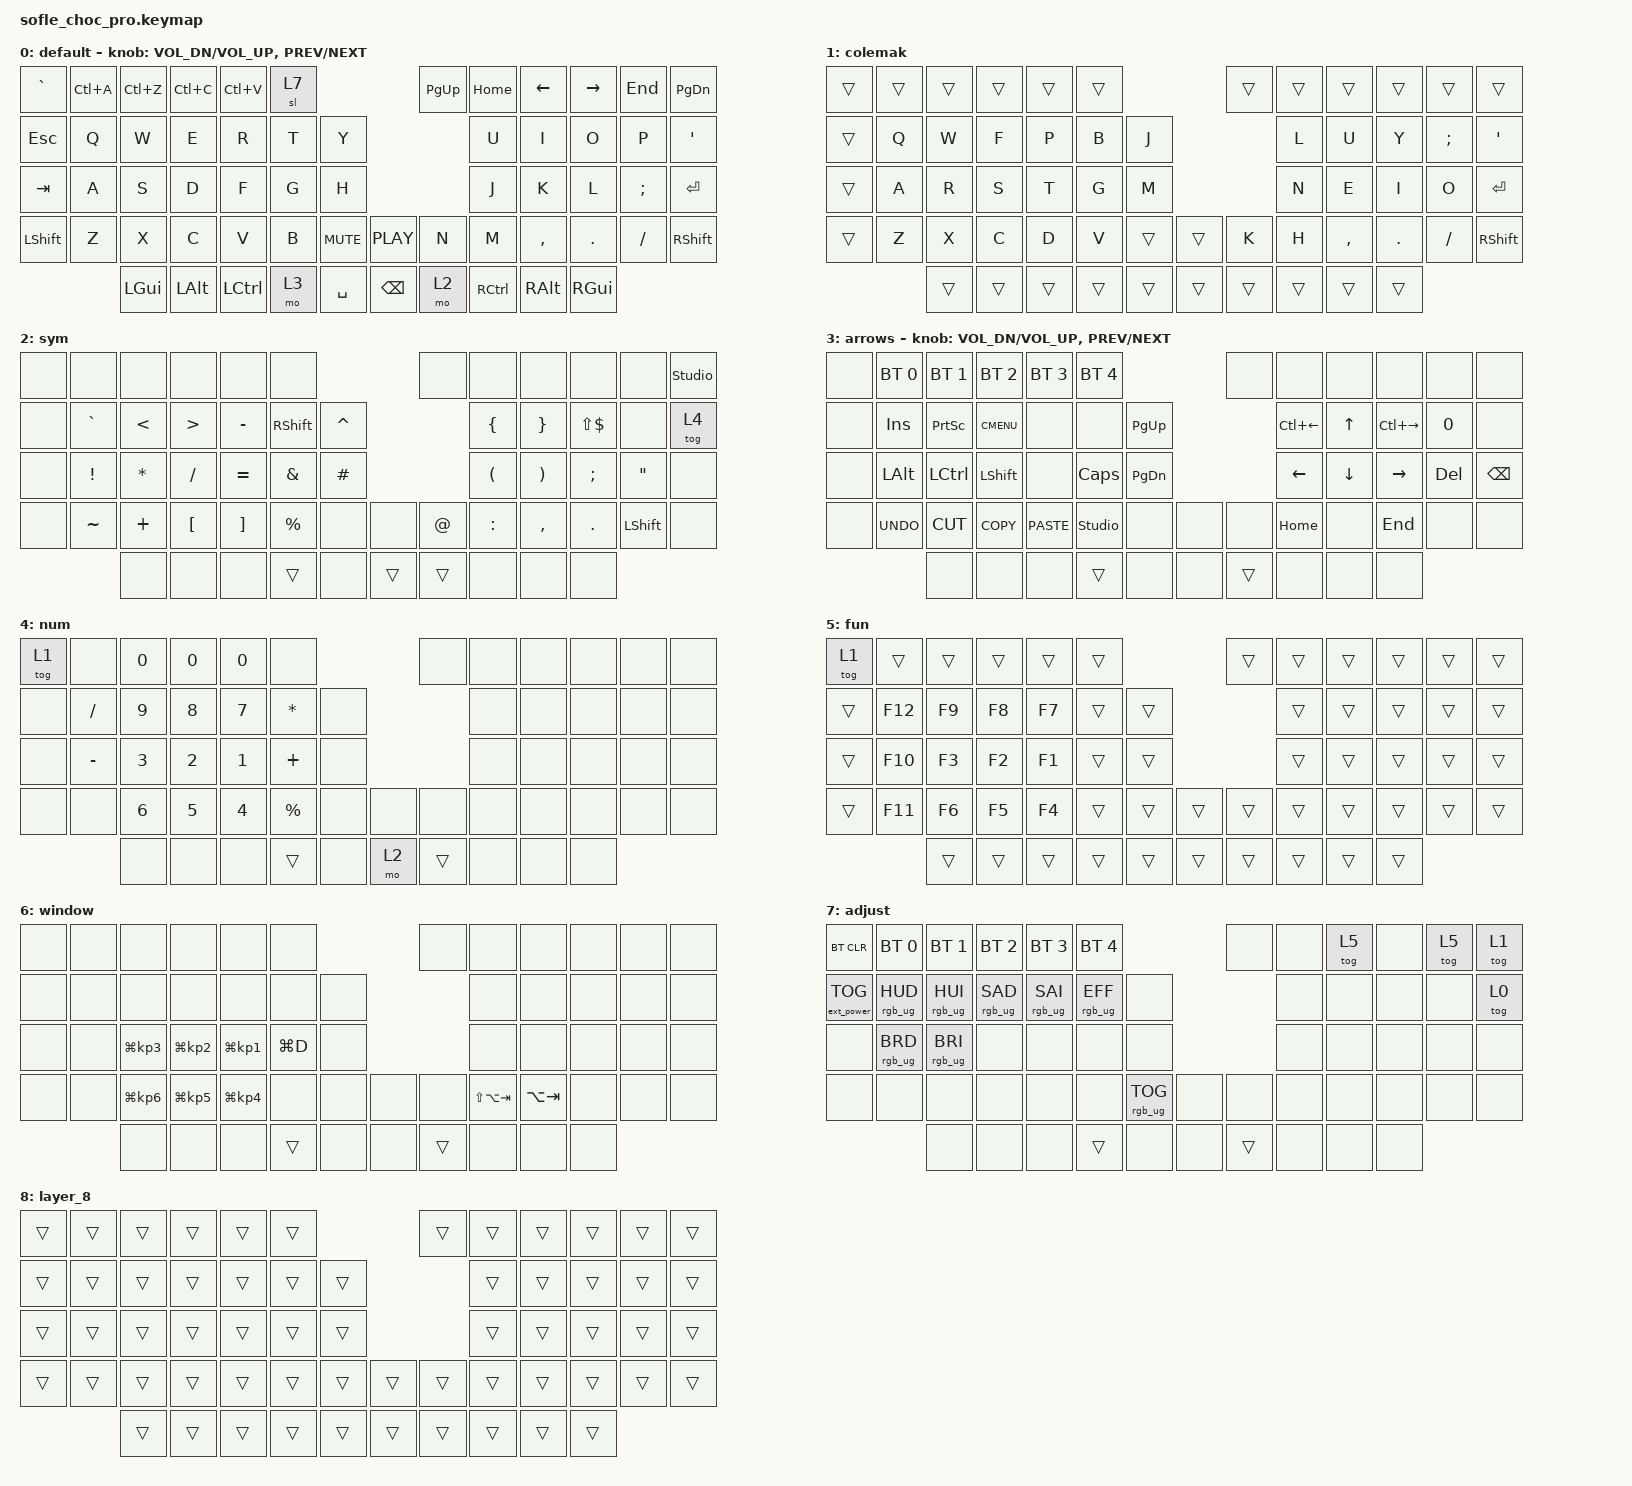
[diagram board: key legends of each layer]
/*
* Copyright (c) 2020 The ZMK Contributors
*
* SPDX-License-Identifier: MIT
*/

#include <behaviors.dtsi>
#include <dt-bindings/zmk/bt.h>
#include <dt-bindings/zmk/ext_power.h>
#include <dt-bindings/zmk/keys.h>
#include <dt-bindings/zmk/rgb.h>

#define DEFAULT 0
#define COLEMAK 1
#define SYM     2
#define ARROWS  3
#define NUM     4
#define FUN     5
#define WINDOW  6
#define ADJUST  7

/ {
    // Activate ADJUST layer by pressing raise and lower

    conditional_layers { compatible = "zmk,conditional-layers"; };

    combos {
        compatible = "zmk,combos";

        bothlayers {
            bindings = <&mo 7>;
            key-positions = <53 56>;
        };
    };

    keymap {
        compatible = "zmk,keymap";

        default_layer {
            display-name = "default";

            // ------------------------------------------------------------------------------------------------------------
            // |   `   |  1  |  2  |  3   |  4   |  5   |                   |  6   |  7    |  8    |  9   |   0   |   `   |
            // |  ESC  |  Q  |  W  |  E   |  R   |  T   |                   |  Y   |  U    |  I    |  O   |   P   | BKSPC |
            // |  TAB  |  A  |  S  |  D   |  F   |  G   |                   |  H   |  J    |  K    |  L   |   ;   |   '   |
            // | SHIFT |  Z  |  X  |  C   |  V   |  B   |  MUTE  |  | PLAY  |  N   |  M    |  ,    |  .   |   /   | SHIFT |
            //               | GUI | ALT  | CTRL | LOWER|  ENTER |  | SPACE | RAISE| CTRL  | ALT   | GUI  |

            bindings = <
&kp GRAVE  &kp LC(A)  &kp LC(Z)  &kp LC(C)  &kp LC(V)  &sl 7                          &kp PAGE_UP  &kp HOME   &kp LEFT   &kp RIGHT  &kp END   &kp PAGE_DOWN
&kp ESC    &kp Q      &kp W      &kp E      &kp R      &kp T  &kp Y                                &kp U      &kp I      &kp O      &kp P     &kp SQT
&kp TAB    &kp A      &kp S      &kp D      &kp F      &kp G  &kp H                                &kp J      &kp K      &kp L      &kp SEMI  &kp ENTER
&kp LSHFT  &kp Z      &kp X      &kp C      &kp V      &kp B  &kp C_MUTE  &kp C_PLAY  &kp N        &kp M      &kp COMMA  &kp DOT    &kp FSLH  &kp RSHFT
                      &kp LGUI   &kp LALT   &kp LCTRL  &mo 3  &kp SPACE   &kp BSPC    &mo 2        &kp RCTRL  &kp RALT   &kp RGUI
            >;

            sensor-bindings = <&inc_dec_kp C_VOL_DN C_VOL_UP &inc_dec_kp C_PREV C_NEXT>;
        };

        colemak {
            bindings = <
&trans  &trans  &trans  &trans  &trans  &trans                  &trans  &trans  &trans     &trans   &trans    &trans
&trans  &kp Q   &kp W   &kp F   &kp P   &kp B   &kp J                   &kp L   &kp U      &kp Y    &kp SEMI  &kp APOS
&trans  &kp A   &kp R   &kp S   &kp T   &kp G   &kp M                   &kp N   &kp E      &kp I    &kp O     &kp ENTER
&trans  &kp Z   &kp X   &kp C   &kp D   &kp V   &trans  &trans  &kp K   &kp H   &kp COMMA  &kp DOT  &kp FSLH  &kp RSHFT
                &trans  &trans  &trans  &trans  &trans  &trans  &trans  &trans  &trans     &trans
            >;

            label = "colemak";
        };

        sym {
            bindings = <
&none  &none            &none          &none             &none      &none                           &none   &none                 &none                  &none         &none              &studio_unlock
&none  &kp GRAVE        &kp LESS_THAN  &kp GREATER_THAN  &kp MINUS  &kp RSHFT    &kp CARET                  &kp LEFT_BRACE        &kp RIGHT_BRACE        &kp LS(DLLR)  &none              &tog 4
&none  &kp EXCLAMATION  &kp STAR       &kp FSLH          &kp EQUAL  &kp AMPS     &kp HASH                   &kp LEFT_PARENTHESIS  &kp RIGHT_PARENTHESIS  &kp SEMI      &kp DOUBLE_QUOTES  &none
&none  &kp TILDE        &kp PLUS       &kp LBKT          &kp RBKT   &kp PERCENT  &none      &none   &kp AT  &kp COLON             &kp COMMA              &kp DOT       &kp LSHFT          &none
                        &none          &none             &none      &trans       &none      &trans  &trans  &none                 &none                  &none
            >;

            label = "sym";
        };

        arrows {
            display-name = "arrows";

            // ------------------------------------------------------------------------------------------------------------
            // | BTCLR | BT1  | BT2  |  BT3  |  BT4  |  BT5 |                |      |      |       |      |       |       |
            // |       | INS  | PSCR | GUI   |       |      |                | PGUP |      |   ^   |      |       |       |
            // |       | ALT  | CTRL | SHIFT |       | CAPS |                | PGDN |   <- |   v   |  ->  |  DEL  | BKSPC |
            // |       | UNDO | CUT  | COPY  | PASTE |      |      |  |      |      |      |       |      |       |       |
            //                |      |       |       |      |      |  |      |      |      |       |      |

            bindings = <
&none  &bt BT_SEL 0  &bt BT_SEL 1  &bt BT_SEL 2  &bt BT_SEL 3  &bt BT_SEL 4                      &none   &none         &none     &none          &none    &none
&none  &kp INS       &kp PSCRN     &kp K_CMENU   &none         &none           &kp PG_UP                 &kp LC(LEFT)  &kp UP    &kp LC(RIGHT)  &kp N0   &none
&none  &kp LALT      &kp LCTRL     &kp LSHFT     &none         &kp CLCK        &kp PG_DN                 &kp LEFT      &kp DOWN  &kp RIGHT      &kp DEL  &kp BSPC
&none  &kp K_UNDO    &kp K_CUT     &kp K_COPY    &kp K_PASTE   &studio_unlock  &none      &none  &none   &kp HOME      &none     &kp END        &none    &none
                     &none         &none         &none         &trans          &none      &none  &trans  &none         &none     &none
            >;

            sensor-bindings = <&inc_dec_kp C_VOL_DN C_VOL_UP &inc_dec_kp C_PREV C_NEXT>;
        };

        num {
            bindings = <
&tog 1  &none      &kp N0  &kp N0  &kp N0  &none                      &none   &none  &none  &none  &none  &none
&none   &kp FSLH   &kp N9  &kp N8  &kp N7  &kp STAR     &none                 &none  &none  &none  &none  &none
&none   &kp MINUS  &kp N3  &kp N2  &kp N1  &kp PLUS     &none                 &none  &none  &none  &none  &none
&none   &none      &kp N6  &kp N5  &kp N4  &kp PERCENT  &none  &none  &none   &none  &none  &none  &none  &none
                   &none   &none   &none   &trans       &none  &mo 2  &trans  &none  &none  &none
            >;

            label = "num";
        };

        fun {
            bindings = <
&tog 1  &trans   &trans  &trans  &trans  &trans                  &trans  &trans  &trans  &trans  &trans  &trans
&trans  &kp F12  &kp F9  &kp F8  &kp F7  &trans  &trans                  &trans  &trans  &trans  &trans  &trans
&trans  &kp F10  &kp F3  &kp F2  &kp F1  &trans  &trans                  &trans  &trans  &trans  &trans  &trans
&trans  &kp F11  &kp F6  &kp F5  &kp F4  &trans  &trans  &trans  &trans  &trans  &trans  &trans  &trans  &trans
                 &trans  &trans  &trans  &trans  &trans  &trans  &trans  &trans  &trans  &trans
            >;
        };

        window {
            bindings = <
&none  &none  &none                &none                &none                &none                    &none   &none            &none        &none  &none  &none
&none  &none  &none                &none                &none                &none      &none                 &none            &none        &none  &none  &none
&none  &none  &kp LG(KP_NUMBER_3)  &kp LG(KP_NUMBER_2)  &kp LG(KP_N1)        &kp LG(D)  &none                 &none            &none        &none  &none  &none
&none  &none  &kp LG(KP_NUMBER_6)  &kp LG(KP_NUMBER_5)  &kp LG(KP_NUMBER_4)  &none      &none  &none  &none   &kp LS(LA(TAB))  &kp LA(TAB)  &none  &none  &none
              &none                &none                &none                &trans     &none  &none  &trans  &none            &none        &none
            >;

            label = "window";
        };

        adjust {
            // ----------------------------------------------------------------------------------------------------------------------------
            // | BTCLR  |  BT1    |  BT2    |   BT3   |   BT4   |   BT5   |                  |      |      |       |      |       |       |
            // | EXTPWR | RGB_HUD | RGB_HUI | RGB_SAD | RGB_SAI | RGB_EFF |                  |      |      |       |      |       |       |
            // |        | RGB_BRD | RGB_BRI |         |         |         |                  |      |      |       |      |       |       |
            // |        |         |         |         |         |         | RGB_TOG | |      |      |      |       |      |       |       |
            //                    |         |         |         |         |         | |      |      |      |       |      |

            display-name = "adjust";
            bindings = <
&bt BT_CLR         &bt BT_SEL 0     &bt BT_SEL 1     &bt BT_SEL 2     &bt BT_SEL 3     &bt BT_SEL 4                             &none   &none  &tog 5  &none  &tog 5  &tog 1
&ext_power EP_TOG  &rgb_ug RGB_HUD  &rgb_ug RGB_HUI  &rgb_ug RGB_SAD  &rgb_ug RGB_SAI  &rgb_ug RGB_EFF  &none                           &none  &none   &none  &none   &tog 0
&none              &rgb_ug RGB_BRD  &rgb_ug RGB_BRI  &none            &none            &none            &none                           &none  &none   &none  &none   &none
&none              &none            &none            &none            &none            &none            &rgb_ug RGB_TOG  &none  &none   &none  &none   &none  &none   &none
                                    &none            &none            &none            &trans           &none            &none  &trans  &none  &none   &none
            >;
        };

        layer_8 {
            bindings = <
&trans  &trans  &trans  &trans  &trans  &trans                  &trans  &trans  &trans  &trans  &trans  &trans
&trans  &trans  &trans  &trans  &trans  &trans  &trans                  &trans  &trans  &trans  &trans  &trans
&trans  &trans  &trans  &trans  &trans  &trans  &trans                  &trans  &trans  &trans  &trans  &trans
&trans  &trans  &trans  &trans  &trans  &trans  &trans  &trans  &trans  &trans  &trans  &trans  &trans  &trans
                &trans  &trans  &trans  &trans  &trans  &trans  &trans  &trans  &trans  &trans
            >;
        };
    };
};
